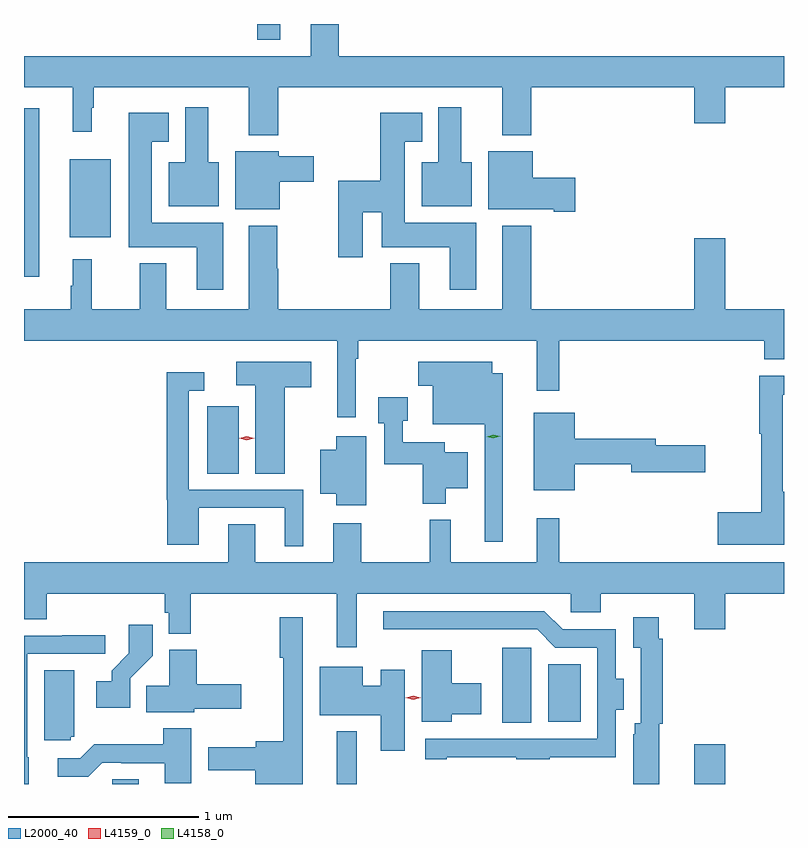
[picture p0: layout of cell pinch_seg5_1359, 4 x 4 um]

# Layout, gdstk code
import gdstk
lib = gdstk.Library(unit=1e-6, precision=1e-09)
def R(c, l, rs):  # rectangles x0, y0, x1, y1
    for r in rs: c.add(gdstk.rectangle(r[:2], r[2:], *l))
def P(c, l, *ps):  # polygons
    for p in ps: c.add(gdstk.Polygon(p, *l))
L2000_40 = (2000, 40)
L4158_0 = (4158, 0)
L4159_0 = (4159, 0)

pinch_seg5_1359 = lib.new_cell('pinch_seg5_1359')
R(pinch_seg5_1359, L2000_40, [(185.922,909.038,186.061,909.062), (187.103,909.038,187.207,909.316), (188.984,909.038,189.148,909.247), (187.973,909.361,188.128,909.756), (188.216,909.365,188.386,909.667), (186.422,910.672,186.586,911.026), (185.457,911.708,185.536,912.595), (185.699,911.915,185.914,912.325), (186.685,912.954,186.805,913.038)])
P(pinch_seg5_1359, L2000_40, [(186.794,912.704),(187.973,912.704),(187.973,912.452),(188.126,912.452),(188.126,912.704),(188.984,912.704),(188.984,912.516),(189.148,912.516),(189.148,912.704),(189.457,912.704),(189.457,912.868),(187.113,912.868),(187.113,913.038),(186.965,913.038),(186.965,912.868),(185.457,912.868),(185.457,912.704),(185.714,912.704),(185.714,912.471),(185.813,912.471),(185.813,912.596),(185.824,912.596),(185.824,912.704),(186.641,912.704),(186.641,912.452),(186.794,912.452)],
  [(186.481,912.31),(186.427,912.31),(186.427,912.601),(186.305,912.601),(186.305,912.31),(186.218,912.31),(186.218,912.08),(186.481,912.08)],
  [(187.813,912.31),(187.759,912.31),(187.759,912.601),(187.637,912.601),(187.637,912.31),(187.55,912.31),(187.55,912.08),(187.813,912.08)],
  [(186.505,911.992),(186.13,911.992),(186.13,912.419),(186.22,912.419),(186.22,912.571),(186.008,912.571),(186.008,911.864),(186.365,911.864),(186.365,911.64),(186.505,911.64)],
  [(187.837,911.992),(187.462,911.992),(187.462,912.419),(187.552,912.419),(187.552,912.571),(187.333,912.571),(187.333,912.212),(187.111,912.212),(187.111,911.811),(187.24,911.811),(187.24,912.047),(187.34,912.047),(187.34,911.864),(187.697,911.864),(187.697,911.64),(187.837,911.64)],
  [(188.359,912.228),(188.134,912.228),(188.134,912.367),(187.901,912.367),(187.901,912.062),(188.246,912.062),(188.246,912.05),(188.359,912.05)],
  [(186.802,912.209),(186.982,912.209),(186.982,912.343),(186.798,912.343),(186.798,912.367),(186.569,912.367),(186.569,912.062),(186.802,912.062)],
  [(187.203,911.276),(187.216,911.276),(187.216,911.372),(188.155,911.372),(188.155,911.109),(188.273,911.109),(188.273,911.372),(189.353,911.372),(189.353,911.273),(189.457,911.273),(189.457,911.536),(189.148,911.536),(189.148,911.911),(188.984,911.911),(188.984,911.536),(188.126,911.536),(188.126,911.977),(187.973,911.977),(187.973,911.536),(187.537,911.536),(187.537,911.779),(187.385,911.779),(187.385,911.536),(186.794,911.536),(186.794,911.751),(186.789,911.751),(186.789,911.977),(186.641,911.977),(186.641,911.536),(186.205,911.536),(186.205,911.779),(186.065,911.779),(186.065,911.536),(185.814,911.536),(185.814,911.8),(185.714,911.8),(185.714,911.66),(185.703,911.66),(185.703,911.536),(185.457,911.536),(185.457,911.372),(187.106,911.372),(187.106,910.968),(187.203,910.968)],
  [(187.978,911.2),(187.921,911.2),(187.921,911.26),(187.533,911.26),(187.533,911.134),(187.607,911.134),(187.607,910.931),(187.881,910.931),(187.881,910.314),(187.978,910.314)],
  [(186.829,911.126),(186.97,911.126),(186.97,911.26),(186.573,911.26),(186.573,911.138),(186.674,911.138),(186.674,910.672),(186.829,910.672)],
  [(186.928,910.587),(186.324,910.587),(186.324,911.109),(186.406,911.109),(186.406,911.206),(186.208,911.206),(186.208,910.534),(186.212,910.534),(186.212,910.298),(186.376,910.298),(186.376,910.491),(186.83,910.491),(186.83,910.29),(186.928,910.29)],
  [(189.457,910.576),(189.451,910.576),(189.451,911.088),(189.457,911.088),(189.457,911.186),(189.326,911.186),(189.326,910.881),(189.338,910.881),(189.338,910.469),(189.108,910.469),(189.108,910.298),(189.457,910.298)],
  [(187.678,910.595),(187.792,910.595),(187.792,910.783),(187.672,910.783),(187.672,910.836),(187.45,910.836),(187.45,910.949),(187.477,910.949),(187.477,911.074),(187.322,911.074),(187.322,910.937),(187.353,910.937),(187.353,910.72),(187.556,910.72),(187.556,910.514),(187.678,910.514)],
  [(188.356,910.72),(188.654,910.72),(188.654,910.678),(189.043,910.678),(189.043,910.82),(188.782,910.82),(188.782,910.856),(188.356,910.856),(188.356,910.993),(188.141,910.993),(188.141,910.583),(188.356,910.583)],
  [(187.258,910.867),(187.1,910.867),(187.1,910.798),(187.016,910.798),(187.016,910.565),(187.1,910.565),(187.1,910.506),(187.258,910.506)],
  [(187.207,910.04),(188.334,910.04),(188.334,909.942),(188.493,909.942),(188.493,910.04),(188.984,910.04),(188.984,909.852),(189.148,909.852),(189.148,910.04),(189.457,910.04),(189.457,910.204),(188.273,910.204),(188.273,910.438),(188.156,910.438),(188.156,910.204),(187.703,910.204),(187.703,910.429),(187.593,910.429),(187.593,910.204),(187.233,910.204),(187.233,910.411),(187.085,910.411),(187.085,910.204),(186.673,910.204),(186.673,910.406),(186.533,910.406),(186.533,910.204),(185.457,910.204),(185.457,909.904),(185.576,909.904),(185.576,910.04),(186.199,910.04),(186.199,909.939),(186.219,909.939),(186.219,909.83),(186.335,909.83),(186.335,910.04),(187.103,910.04),(187.103,909.759),(187.207,909.759)],
  [(187.681,909.179),(188.047,909.179),(188.047,909.168),(188.225,909.168),(188.225,909.179),(188.571,909.179),(188.571,909.428),(188.614,909.428),(188.614,909.592),(188.572,909.592),(188.572,909.852),(188.292,909.852),(188.196,909.948),(187.347,909.948),(187.347,909.852),(188.157,909.852),(188.253,909.756),(188.475,909.756),(188.475,909.276),(187.569,909.276),(187.569,909.168),(187.681,909.168)],
  [(188.8,909.354),(188.819,909.354),(188.819,909.803),(188.799,909.803),(188.799,909.916),(188.663,909.916),(188.663,909.755),(188.703,909.755),(188.703,909.358),(188.672,909.358),(188.672,909.3),(188.663,909.3),(188.663,909.038),(188.8,909.038)],
  [(186.925,909.916),(186.804,909.916),(186.804,909.703),(186.821,909.703),(186.821,909.263),(186.678,909.263),(186.678,909.232),(186.426,909.232),(186.426,909.11),(186.674,909.11),(186.674,909.038),(186.925,909.038)],
  [(186.015,909.595),(186.134,909.714),(186.134,909.877),(186.009,909.877),(186.009,909.725),(185.918,909.635),(185.918,909.58),(185.838,909.58),(185.838,909.44),(186.015,909.44)],
  [(185.482,909.18),(185.475,909.18),(185.475,909.723),(185.884,909.723),(185.884,909.822),(185.659,909.822),(185.659,909.819),(185.457,909.819),(185.457,909.038),(185.482,909.038)],
  [(186.354,909.434),(186.601,909.434),(186.601,909.564),(186.366,909.564),(186.366,909.745),(186.221,909.745),(186.221,909.554),(186.1,909.554),(186.1,909.416),(186.354,909.416)],
  [(187.708,909.404),(187.864,909.404),(187.864,909.568),(187.708,909.568),(187.708,909.742),(187.55,909.742),(187.55,909.365),(187.708,909.365)],
  [(187.462,909.64),(187.334,909.64),(187.334,909.555),(187.24,909.555),(187.24,909.655),(187.013,909.655),(187.013,909.401),(187.334,909.401),(187.334,909.213),(187.462,909.213)],
  [(185.703,909.288),(185.722,909.288),(185.722,909.637),(185.564,909.637),(185.564,909.267),(185.703,909.267)],
  [(186.337,909.331),(186.19,909.331),(186.19,909.247),(185.827,909.247),(185.754,909.174),(185.634,909.174),(185.634,909.077),(185.795,909.077),(185.868,909.15),(185.968,909.15),(185.968,909.147),(186.197,909.147),(186.197,909.042),(186.337,909.042)])
P(pinch_seg5_1359, L4158_0, [(187.928,910.858),(187.892,910.866),(187.891,910.866),(187.892,910.866),(187.927,910.877),(187.963,910.869),(187.963,910.869),(187.963,910.869)])
P(pinch_seg5_1359, L4159_0, [(187.505,909.482),(187.465,909.491),(187.465,909.491),(187.465,909.492),(187.505,909.502),(187.545,909.493),(187.546,909.493),(187.545,909.493)],
  [(186.63,910.848),(186.59,910.858),(186.589,910.858),(186.59,910.858),(186.63,910.868),(186.67,910.858),(186.67,910.858),(186.67,910.858)])

lib.write_gds('pinch_seg5_1359.gds')
